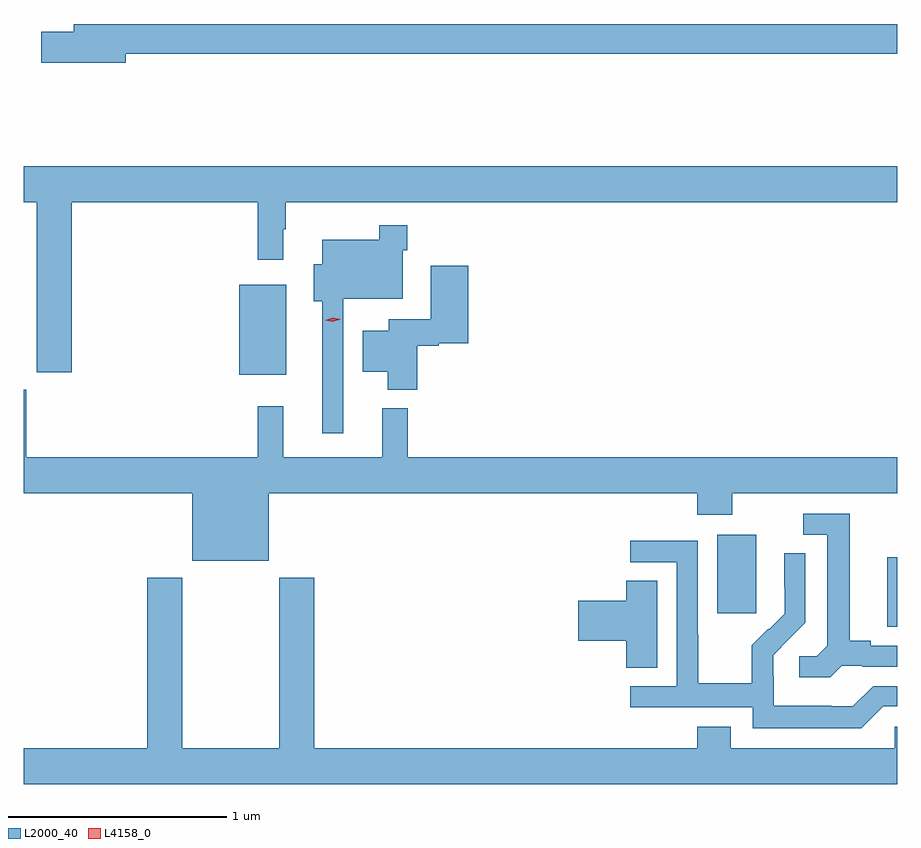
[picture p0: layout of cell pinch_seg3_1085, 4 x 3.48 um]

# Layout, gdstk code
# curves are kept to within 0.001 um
import gdstk
lib = gdstk.Library(unit=1e-6, precision=1e-09)
def R(c, l, rs):  # rectangles x0, y0, x1, y1
    for r in rs: c.add(gdstk.rectangle(r[:2], r[2:], *l))
def P(c, l, *ps):  # polygons
    for p in ps: c.add(gdstk.Polygon(p, *l))
L2000_40 = (2000, 40)
L4158_0 = (4158, 0)

pinch_seg3_1085 = lib.new_cell('pinch_seg3_1085')
R(pinch_seg3_1085, L2000_40, [(241.139,709.627,241.184,709.947), (240.359,709.689,240.538,710.05), (238.172,710.783,238.387,711.193)])
P(pinch_seg3_1085, L2000_40, [(237.652,712.252),(241.184,712.252),(241.184,712.388),(237.413,712.388),(237.413,712.352),(237.264,712.352),(237.264,712.21),(237.652,712.21)],
  [(237.404,711.572),(238.255,711.572),(238.255,711.309),(238.372,711.309),(238.372,711.449),(238.384,711.449),(238.384,711.572),(241.184,711.572),(241.184,711.736),(237.184,711.736),(237.184,711.572),(237.244,711.572),(237.244,710.793),(237.404,710.793)],
  [(238.647,711.131),(238.92,711.131),(238.92,711.353),(238.94,711.353),(238.94,711.466),(238.812,711.466),(238.812,711.4),(238.55,711.4),(238.55,711.289),(238.511,711.289),(238.511,711.119),(238.55,711.119),(238.55,710.514),(238.647,710.514)],
  [(238.985,710.915),(239.085,710.915),(239.085,710.927),(239.219,710.927),(239.219,711.28),(239.048,711.28),(239.048,711.037),(238.856,711.037),(238.856,710.983),(238.736,710.983),(238.736,710.795),(238.85,710.795),(238.85,710.714),(238.985,710.714)],
  [(238.306,710.24),(240.269,710.24),(240.269,710.141),(240.429,710.141),(240.429,710.24),(241.184,710.24),(241.184,710.404),(238.943,710.404),(238.943,710.629),(238.826,710.629),(238.826,710.404),(238.373,710.404),(238.373,710.638),(238.255,710.638),(238.255,710.404),(237.196,710.404),(237.196,710.713),(237.184,710.713),(237.184,710.24),(237.956,710.24),(237.956,709.931),(238.306,709.931)],
  [(240.93,709.449),(241.024,709.449),(241.024,709.446),(241.184,709.446),(241.184,709.542),(241.063,709.542),(241.063,709.565),(240.967,709.565),(240.967,710.145),(240.753,710.145),(240.753,710.049),(240.863,710.049),(240.863,709.541),(240.816,709.494),(240.735,709.494),(240.735,709.397),(240.878,709.397)],
  [(241.119,709.263),(241.184,709.263),(241.184,709.356),(241.074,709.356),(240.981,709.263),(240.881,709.263),(240.881,709.267),(240.618,709.267),(240.618,709.401),(240.616,709.401),(240.616,709.498),(240.762,709.646),(240.762,709.964),(240.666,709.964),(240.666,709.81),(240.668,709.81),(240.668,709.688),(240.597,709.617),(240.594,709.62),(240.517,709.543),(240.517,709.369),(240.273,709.369),(240.273,709.592),(240.27,709.592),(240.27,710.022),(239.961,710.022),(239.961,709.923),(240.174,709.923),(240.174,709.356),(239.961,709.356),(239.961,709.26),(240.522,709.26),(240.522,709.163),(241.019,709.163)],
  [(241.184,709.17),(241.173,709.17),(241.173,709.072),(240.421,709.072),(240.421,709.171),(240.269,709.171),(240.269,709.072),(238.514,709.072),(238.514,709.852),(238.354,709.852),(238.354,709.072),(237.909,709.072),(237.909,709.852),(237.749,709.852),(237.749,709.072),(237.184,709.072),(237.184,708.908),(241.184,708.908)],
  [(240.085,709.838),(239.942,709.838),(239.942,709.748),(239.724,709.748),(239.724,709.565),(239.942,709.565),(239.942,709.441),(240.085,709.441)])
P(pinch_seg3_1085, L4158_0, [(238.6,711.024),(238.565,711.032),(238.564,711.032),(238.565,711.032),(238.6,711.043),(238.636,711.035),(238.636,711.035),(238.636,711.035)])

lib.write_gds('pinch_seg3_1085.gds')
